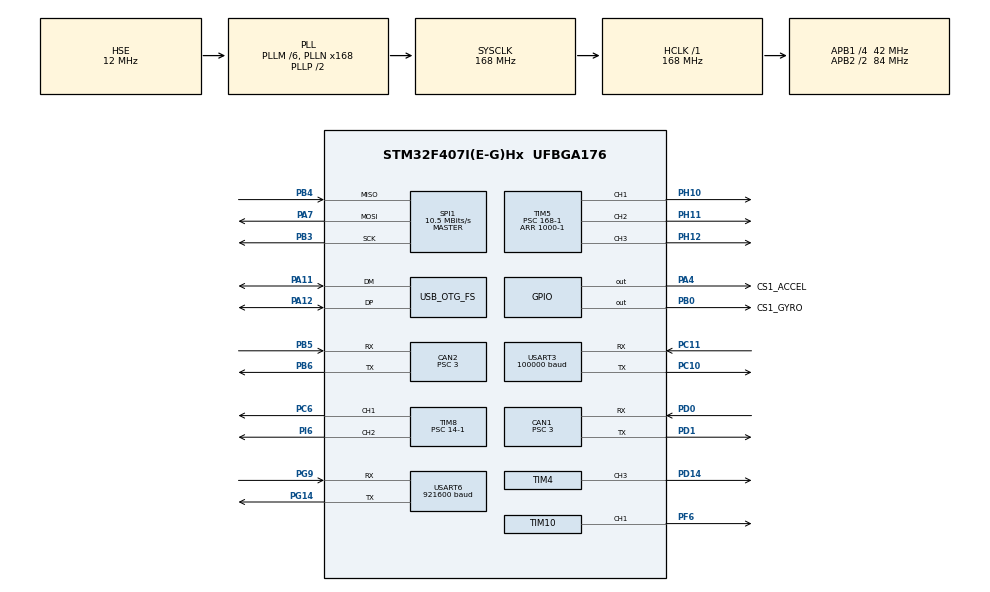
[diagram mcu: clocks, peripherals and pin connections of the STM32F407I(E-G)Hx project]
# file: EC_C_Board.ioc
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CAN1.ABOM=DISABLE
CAN1.AWUM=DISABLE
CAN1.BS1=CAN_BS1_10TQ
CAN1.BS2=CAN_BS2_3TQ
CAN1.CalculateBaudRate=1000000
CAN1.CalculateTimeBit=1000
CAN1.CalculateTimeQuantum=71.42857142857143
CAN1.NART=DISABLE
CAN1.Prescaler=3
CAN1.TXFP=DISABLE
CAN2.ABOM=DISABLE
CAN2.AWUM=DISABLE
CAN2.BS1=CAN_BS1_10TQ
CAN2.BS2=CAN_BS2_3TQ
CAN2.CalculateBaudRate=1000000
CAN2.CalculateTimeBit=1000
CAN2.CalculateTimeQuantum=71.42857142857143
CAN2.NART=DISABLE
CAN2.Prescaler=3
CAN2.TXFP=DISABLE
Dma.Request0=USART3_RX
Dma.Request1=USART6_RX
Dma.Request2=USART6_TX
Dma.Request3=TIM8_CH2
Dma.Request4=TIM8_CH1
Dma.TIM8_CH1.4.Direction=DMA_MEMORY_TO_PERIPH
Dma.TIM8_CH1.4.FIFOMode=DMA_FIFOMODE_DISABLE
Dma.TIM8_CH1.4.Instance=DMA2_Stream2
Dma.TIM8_CH1.4.MemDataAlignment=DMA_MDATAALIGN_HALFWORD
Dma.TIM8_CH1.4.MemInc=DMA_MINC_ENABLE
Dma.TIM8_CH1.4.Mode=DMA_NORMAL
Dma.TIM8_CH1.4.PeriphDataAlignment=DMA_PDATAALIGN_HALFWORD
Dma.TIM8_CH1.4.PeriphInc=DMA_PINC_DISABLE
Dma.TIM8_CH1.4.Priority=DMA_PRIORITY_MEDIUM
Dma.TIM8_CH2.3.Direction=DMA_MEMORY_TO_PERIPH
Dma.TIM8_CH2.3.FIFOMode=DMA_FIFOMODE_DISABLE
Dma.TIM8_CH2.3.Instance=DMA2_Stream3
Dma.TIM8_CH2.3.MemDataAlignment=DMA_MDATAALIGN_HALFWORD
Dma.TIM8_CH2.3.MemInc=DMA_MINC_ENABLE
Dma.TIM8_CH2.3.Mode=DMA_NORMAL
Dma.TIM8_CH2.3.PeriphDataAlignment=DMA_PDATAALIGN_HALFWORD
Dma.TIM8_CH2.3.PeriphInc=DMA_PINC_DISABLE
Dma.TIM8_CH2.3.Priority=DMA_PRIORITY_MEDIUM
Dma.USART3_RX.0.Direction=DMA_PERIPH_TO_MEMORY
Dma.USART3_RX.0.FIFOMode=DMA_FIFOMODE_DISABLE
Dma.USART3_RX.0.Instance=DMA1_Stream1
Dma.USART3_RX.0.MemDataAlignment=DMA_MDATAALIGN_BYTE
Dma.USART3_RX.0.MemInc=DMA_MINC_ENABLE
Dma.USART3_RX.0.Mode=DMA_NORMAL
Dma.USART3_RX.0.PeriphDataAlignment=DMA_PDATAALIGN_BYTE
Dma.USART3_RX.0.PeriphInc=DMA_PINC_DISABLE
Dma.USART3_RX.0.Priority=DMA_PRIORITY_HIGH
Dma.USART6_RX.1.Direction=DMA_PERIPH_TO_MEMORY
Dma.USART6_RX.1.FIFOMode=DMA_FIFOMODE_DISABLE
Dma.USART6_RX.1.Instance=DMA2_Stream1
Dma.USART6_RX.1.MemDataAlignment=DMA_MDATAALIGN_BYTE
Dma.USART6_RX.1.MemInc=DMA_MINC_ENABLE
Dma.USART6_RX.1.Mode=DMA_NORMAL
Dma.USART6_RX.1.PeriphDataAlignment=DMA_PDATAALIGN_BYTE
Dma.USART6_RX.1.PeriphInc=DMA_PINC_DISABLE
Dma.USART6_RX.1.Priority=DMA_PRIORITY_LOW
Dma.USART6_TX.2.Direction=DMA_MEMORY_TO_PERIPH
Dma.USART6_TX.2.FIFOMode=DMA_FIFOMODE_DISABLE
Dma.USART6_TX.2.Instance=DMA2_Stream6
Dma.USART6_TX.2.MemDataAlignment=DMA_MDATAALIGN_BYTE
Dma.USART6_TX.2.MemInc=DMA_MINC_ENABLE
Dma.USART6_TX.2.Mode=DMA_NORMAL
Dma.USART6_TX.2.PeriphDataAlignment=DMA_PDATAALIGN_BYTE
Dma.USART6_TX.2.PeriphInc=DMA_PINC_DISABLE
Dma.USART6_TX.2.Priority=DMA_PRIORITY_LOW
FREERTOS.INCLUDE_vTaskDelayUntil=1
FREERTOS.Tasks01=defaultTask,0,128,StartDefaultTask,Default,NULL,Dynamic,NULL,NULL;insTask,3,512,StartInsTask,Default,NULL,Dynamic,NULL,NULL;gimbalTask,2,512,StartGimbalTask,Default,NULL,Dynamic,NULL,NULL;modeTask,1,256,StartModeTask,Default,NULL,Dynamic,NULL,NULL;chassisTask,0,256,StartChassisTask,Default,NULL,Dynamic,NULL,NULL;canTask,2,256,StartCanTask,Default,NULL,Dynamic,NULL,NULL;detectTask,-1,128,StartDetectTask,Default,NULL,Dynamic,NULL,NULL
FREERTOS.configENABLE_FPU=1
FREERTOS.configUSE_NEWLIB_REENTRANT=1
Mcu.Family=STM32F4
Mcu.Name=STM32F407I(E-G)Hx
Mcu.Package=UFBGA176
NVIC.CAN1_RX0_IRQn=true\:5\:0\:false\:false\:true\:true\:true\:true\:true
NVIC.CAN2_RX0_IRQn=true\:5\:0\:false\:false\:true\:true\:true\:true\:true
NVIC.DMA1_Stream1_IRQn=true\:5\:0\:false\:false\:true\:true\:false\:true\:true
NVIC.DMA2_Stream1_IRQn=true\:5\:0\:false\:false\:true\:true\:false\:true\:true
NVIC.DMA2_Stream2_IRQn=true\:5\:0\:false\:false\:true\:true\:false\:true\:true
NVIC.DMA2_Stream3_IRQn=true\:5\:0\:false\:false\:true\:true\:false\:true\:true
NVIC.DMA2_Stream6_IRQn=true\:5\:0\:false\:false\:true\:true\:false\:true\:true
NVIC.OTG_FS_IRQn=true\:5\:0\:false\:false\:true\:true\:false\:true\:true
NVIC.PriorityGroup=NVIC_PRIORITYGROUP_4
NVIC.TIM1_BRK_TIM9_IRQn=true\:5\:0\:false\:false\:true\:true\:true\:true\:true
NVIC.TIM6_DAC_IRQn=true\:5\:0\:false\:false\:true\:true\:true\:true\:true
NVIC.TIM8_TRG_COM_TIM14_IRQn=true\:5\:0\:true\:false\:true\:false\:false\:true\:true
NVIC.TimeBase=TIM8_TRG_COM_TIM14_IRQn
NVIC.TimeBaseIP=TIM14
NVIC.USART3_IRQn=true\:5\:0\:false\:false\:true\:true\:true\:true\:true
NVIC.USART6_IRQn=true\:5\:0\:false\:false\:true\:true\:true\:true\:true
PA11.Mode=Device_Only
PA11.Signal=USB_OTG_FS_DM
PA12.Mode=Device_Only
PA12.Signal=USB_OTG_FS_DP
PA13.Mode=Serial_Wire
PA13.Signal=SYS_JTMS-SWDIO
PA14.Mode=Serial_Wire
PA14.Signal=SYS_JTCK-SWCLK
PA4.GPIO_Label=CS1_ACCEL
PA4.GPIO_PuPd=GPIO_PULLUP
PA4.GPIO_Speed=GPIO_SPEED_FREQ_HIGH
PA4.PinState=GPIO_PIN_SET
PA4.Signal=GPIO_Output
PA7.Mode=Full_Duplex_Master
PA7.Signal=SPI1_MOSI
PB0.GPIO_Label=CS1_GYRO
PB0.GPIO_PuPd=GPIO_PULLUP
PB0.GPIO_Speed=GPIO_SPEED_FREQ_HIGH
PB0.PinState=GPIO_PIN_SET
PB0.Signal=GPIO_Output
PB3.Mode=Full_Duplex_Master
PB3.Signal=SPI1_SCK
PB4.Mode=Full_Duplex_Master
PB4.Signal=SPI1_MISO
PB5.GPIO_PuPd=GPIO_PULLUP
PB5.Mode=CAN_Activate
PB5.Signal=CAN2_RX
PB6.GPIO_PuPd=GPIO_PULLUP
PB6.Mode=CAN_Activate
PB6.Signal=CAN2_TX
PC10.Mode=Asynchronous
PC10.Signal=USART3_TX
PC11.Mode=Asynchronous
PC11.Signal=USART3_RX
PC6.Signal=S_TIM8_CH1
PD0.GPIO_PuPd=GPIO_PULLUP
PD0.Mode=CAN_Activate
PD0.Signal=CAN1_RX
PD1.GPIO_PuPd=GPIO_PULLUP
PD1.Mode=CAN_Activate
PD1.Signal=CAN1_TX
PD14.Signal=S_TIM4_CH3
PF6.Signal=S_TIM10_CH1
PG14.Mode=Asynchronous
PG14.Signal=USART6_TX
PG9.Mode=Asynchronous
PG9.Signal=USART6_RX
PH0-OSC_IN.Mode=HSE-External-Oscillator
PH0-OSC_IN.Signal=RCC_OSC_IN
PH1-OSC_OUT.Mode=HSE-External-Oscillator
PH1-OSC_OUT.Signal=RCC_OSC_OUT
PH10.Signal=S_TIM5_CH1
PH11.Signal=S_TIM5_CH2
PH12.Signal=S_TIM5_CH3
PI6.Signal=S_TIM8_CH2
ProjectManager.HeapSize=0x4000
ProjectManager.StackSize=0x4000
ProjectManager.TargetToolchain=STM32CubeIDE
RCC.48MHZClocksFreq_Value=48000000
RCC.AHBFreq_Value=168000000
RCC.APB1CLKDivider=RCC_HCLK_DIV4
RCC.APB1Freq_Value=42000000
RCC.APB1TimFreq_Value=84000000
RCC.APB2CLKDivider=RCC_HCLK_DIV2
RCC.APB2Freq_Value=84000000
RCC.APB2TimFreq_Value=168000000
RCC.CortexFreq_Value=168000000
RCC.HCLKFreq_Value=168000000
RCC.HSE_VALUE=12000000
RCC.HSI_VALUE=16000000
RCC.LSE_VALUE=32768
RCC.PLLM=6
RCC.PLLN=168
RCC.PLLQ=7
RCC.SYSCLKFreq_VALUE=168000000
RCC.SYSCLKSource=RCC_SYSCLKSOURCE_PLLCLK
RCC.VCOOutputFreq_Value=336000000
SH.S_TIM10_CH1.0=TIM10_CH1,PWM Generation1 CH1
SH.S_TIM4_CH3.0=TIM4_CH3,PWM Generation3 CH3
SH.S_TIM5_CH1.0=TIM5_CH1,PWM Generation1 CH1
SH.S_TIM5_CH2.0=TIM5_CH2,PWM Generation2 CH2
SH.S_TIM5_CH3.0=TIM5_CH3,PWM Generation3 CH3
SH.S_TIM8_CH1.0=TIM8_CH1,PWM Generation1 CH1
SH.S_TIM8_CH2.0=TIM8_CH2,PWM Generation2 CH2
SPI1.BaudRatePrescaler=SPI_BAUDRATEPRESCALER_8
SPI1.CLKPhase=SPI_PHASE_2EDGE
SPI1.CLKPolarity=SPI_POLARITY_HIGH
SPI1.CalculateBaudRate=10.5 MBits/s
SPI1.Direction=SPI_DIRECTION_2LINES
SPI1.Mode=SPI_MODE_MASTER
SPI1.VirtualType=VM_MASTER
STMicroelectronics.X-CUBE-ALGOBUILD.1.5.0.LibraryCcDSPOoLibraryJjDSPOoLibrary=true
TIM10.Channel=TIM_CHANNEL_1
TIM10.Period=2000-1
TIM10.Prescaler=84-1
TIM4.AutoReloadPreload=TIM_AUTORELOAD_PRELOAD_ENABLE
TIM4.Channel-PWM\ Generation3\ CH3=TIM_CHANNEL_3
TIM5.AutoReloadPreload=TIM_AUTORELOAD_PRELOAD_ENABLE
TIM5.Channel-PWM\ Generation1\ CH1=TIM_CHANNEL_1
TIM5.Channel-PWM\ Generation2\ CH2=TIM_CHANNEL_2
TIM5.Channel-PWM\ Generation3\ CH3=TIM_CHANNEL_3
TIM5.Period=1000-1
TIM5.Prescaler=168-1
TIM6.AutoReloadPreload=TIM_AUTORELOAD_PRELOAD_ENABLE
TIM6.Period=1050-1
TIM6.Prescaler=10-1
TIM8.AutoReloadPreload=TIM_AUTORELOAD_PRELOAD_ENABLE
TIM8.Channel-PWM\ Generation1\ CH1=TIM_CHANNEL_1
TIM8.Channel-PWM\ Generation2\ CH2=TIM_CHANNEL_2
TIM8.Period=20-1
TIM8.Prescaler=14-1
TIM9.AutoReloadPreload=TIM_AUTORELOAD_PRELOAD_ENABLE
TIM9.Period=10000-1
TIM9.Prescaler=84-1
USART3.BaudRate=100000
USART3.Mode=MODE_RX
USART3.Parity=PARITY_EVEN
USART3.VirtualMode=VM_ASYNC
USART3.WordLength=WORDLENGTH_9B
USART6.BaudRate=921600
USART6.VirtualMode=VM_ASYNC
USB_DEVICE.CLASS_NAME_FS=CDC
USB_DEVICE.MANUFACTURER_STRING-CDC_FS=YueLuEmbedded
USB_DEVICE.PID_CDC_FS=202
USB_DEVICE.PRODUCT_STRING_CDC_FS=Vision Comm port
USB_DEVICE.VirtualMode-CDC_FS=Cdc
USB_DEVICE.VirtualModeFS=Cdc_FS
USB_OTG_FS.VirtualMode=Device_Only
VP_FREERTOS_VS_CMSIS_V1.Mode=CMSIS_V1
VP_STMicroelectronics.X-CUBE-ALGOBUILD_VS_DSPOoLibraryJjLibrary_1.5.0_1.5.0.Mode=DSPOoLibraryJjLibrary
VP_SYS_VS_tim14.Mode=TIM14
VP_TIM10_VS_ClockSourceINT.Mode=Enable_Timer
VP_TIM4_VS_ClockSourceINT.Mode=Internal
VP_TIM5_VS_ClockSourceINT.Mode=Internal
VP_TIM6_VS_ClockSourceINT.Mode=Enable_Timer
VP_TIM8_VS_ClockSourceINT.Mode=Internal
VP_TIM9_VS_ClockSourceINT.Mode=Internal
VP_USB_DEVICE_VS_USB_DEVICE_CDC_FS.Mode=CDC_FS
board=custom

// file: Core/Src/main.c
/* USER CODE BEGIN Header */
/**
 ******************************************************************************
 * @file           : main.c
 * @brief          : Main program body
 ******************************************************************************
 * @attention
 *
 * Copyright (c) 2023 STMicroelectronics.
 * All rights reserved.
 *
 * This software is licensed under terms that can be found in the LICENSE file
 * in the root directory of this software component.
 * If no LICENSE file comes with this software, it is provided AS-IS.
 *
 ******************************************************************************
 */
/* USER CODE END Header */
#include "main.h"
#include "cmsis_os.h"
#include "can.h"
#include "dma.h"
#include "spi.h"
#include "tim.h"
#include "usart.h"
#include "usb_device.h"
#include "gpio.h"

/* USER CODE BEGIN Includes */
#include "bmi088_driver.h"
#include "bsp_dwt.h"
#include "infantry.h"
#include "board_comm.h"
#include "remote_keyboard.h"
#include "arm_math.h"
#include "Dshot.h"
/* USER CODE END Includes */

/* USER CODE BEGIN PV */
int16_t count;
uint8_t SW_flag;
// float signal = 0;
/* USER CODE END PV */

void SystemClock_Config(void);
void MX_FREERTOS_Init(void);

int main(void)
{

  /* MCU Configuration--------------------------------------------------------*/

  /* Reset of all peripherals, Initializes the Flash interface and the Systick. */
  HAL_Init();

  /* Configure the system clock */
  SystemClock_Config();

  /* Initialize all configured peripherals */
  MX_GPIO_Init();
  MX_DMA_Init();
  MX_CAN1_Init();
  MX_CAN2_Init();
  MX_SPI1_Init();
  MX_TIM10_Init();
  MX_USART3_UART_Init();
  MX_USART6_UART_Init();
  MX_TIM9_Init();
  MX_TIM4_Init();
  MX_TIM8_Init();
  MX_TIM5_Init();
  MX_TIM6_Init();
  /* USER CODE BEGIN 2 */
  HAL_TIM_Base_Start_IT(&htim9);
  HAL_TIM_Base_Start_IT(&htim6);
  MX_USB_DEVICE_Init();
  DWT_Init(168);
  while (BMI088_init(&hspi1, 1) != BMI088_NO_ERROR)
    ;
  InfantryGimbalInit();
  /* USER CODE END 2 */

  /* Call init function for freertos objects (in cmsis_os2.c) */
  MX_FREERTOS_Init();

  /* Start scheduler */
  osKernelStart();

  /* We should never get here as control is now taken by the scheduler */

  /* Infinite loop */
  while (1) {

  }
}

void SystemClock_Config(void)
{
  RCC_OscInitTypeDef RCC_OscInitStruct = {0};
  RCC_ClkInitTypeDef RCC_ClkInitStruct = {0};

  /** Configure the main internal regulator output voltage
  */
  __HAL_RCC_PWR_CLK_ENABLE();
  __HAL_PWR_VOLTAGESCALING_CONFIG(PWR_REGULATOR_VOLTAGE_SCALE1);

  /** Initializes the RCC Oscillators according to the specified parameters
  * in the RCC_OscInitTypeDef structure.
  */
  RCC_OscInitStruct.OscillatorType = RCC_OSCILLATORTYPE_HSE;
  RCC_OscInitStruct.HSEState = RCC_HSE_ON;
  RCC_OscInitStruct.PLL.PLLState = RCC_PLL_ON;
  RCC_OscInitStruct.PLL.PLLSource = RCC_PLLSOURCE_HSE;
  RCC_OscInitStruct.PLL.PLLM = 6;
  RCC_OscInitStruct.PLL.PLLN = 168;
  RCC_OscInitStruct.PLL.PLLP = RCC_PLLP_DIV2;
  RCC_OscInitStruct.PLL.PLLQ = 7;
  if (HAL_RCC_OscConfig(&RCC_OscInitStruct) != HAL_OK)
  {
    Error_Handler();
  }

  /** Initializes the CPU, AHB and APB buses clocks
  */
  RCC_ClkInitStruct.ClockType = RCC_CLOCKTYPE_HCLK|RCC_CLOCKTYPE_SYSCLK
                              |RCC_CLOCKTYPE_PCLK1|RCC_CLOCKTYPE_PCLK2;
  RCC_ClkInitStruct.SYSCLKSource = RCC_SYSCLKSOURCE_PLLCLK;
  RCC_ClkInitStruct.AHBCLKDivider = RCC_SYSCLK_DIV1;
  RCC_ClkInitStruct.APB1CLKDivider = RCC_HCLK_DIV4;
  RCC_ClkInitStruct.APB2CLKDivider = RCC_HCLK_DIV2;

  if (HAL_RCC_ClockConfig(&RCC_ClkInitStruct, FLASH_LATENCY_5) != HAL_OK)
  {
    Error_Handler();
  }
}

void HAL_TIM_PeriodElapsedCallback(TIM_HandleTypeDef *htim)
{
  if (htim->Instance == TIM14)
  {
    HAL_IncTick();
  }
  /* USER CODE BEGIN Callback 1 */
  if (htim->Instance == TIM9) {

    //周期0.25s=0.005*50,幅值250，锯齿波
    SW_signal <= 50.f ? (SW_signal += 1.f) : (SW_signal = 0);

    if (!(count % 50)) {
      (Step_signal > 0) ? (Step_signal = -1.5) :
        (Step_signal = 1.5);
      last_Step_signal = Step_signal;
    }

    count++;

    Sin_signal = 3 * arm_cos_f32(PI * count / 72.f);
    Cos_signal = 10 * arm_sin_f32(PI * count / 48.f);
  }
  if (htim->Instance == TIM6) {
    //先失能，等正式换摩擦轮在u删除
    // dshot_mode = DSHOT_INIT;
    switch (dshot_mode) {
    case DSHOT_INIT:
      if (state_counter < 20000) {
        // if (state_counter >= 19000 && state_counter < 19900 &&
            // (state_counter - 19000) % 80 == 0) {
        motor_enable_3d();
        // } else {
        //   motorset(-48);
        // }
        state_counter++;
      }
      else {
        dshot_mode = DSHOT_SEND;
        state_counter = 0;
      }
      break;

    case DSHOT_SEND:
      if (BoardComm_GetGimbalStopFlag() == 0U) {
        if (BoardComm_GetFricFlag()) {
          motorset(1530); //连发弹速(2)
          // motorset(1538); //连发弹速(3)
          // motorset(1550); //连发弹速(4)
          // motorset(1558); //连发弹速(5)
          // motorset(1564); //连发弹速(6)
          // motorset(1568); //连发弹速(7)
          // motorset(1564); //连发弹速(8)
          // motorset(1570); //连发弹速(9)
          // motorset(1574); //连发弹速(10)
          // motorset(100);
        }
        else {
          motorset(0);
        }
      }
      else {
        motorset(-48);
      }
      break;

    default:
      break;
    }
  }
  /* USER CODE END Callback 1 */
}

void Error_Handler(void)
{
  __disable_irq();
  while (1) {
  }
}

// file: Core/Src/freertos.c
/* USER CODE BEGIN Header */
/**
 ******************************************************************************
 * File Name          : freertos.c
 * Description        : Code for freertos applications
 ******************************************************************************
 * @attention
 *
 * Copyright (c) 2023 STMicroelectronics.
 * All rights reserved.
 *
 * This software is licensed under terms that can be found in the LICENSE file
 * in the root directory of this software component.
 * If no LICENSE file comes with this software, it is provided AS-IS.
 *
 ******************************************************************************
 */
/* USER CODE END Header */

#include "FreeRTOS.h"
#include "task.h"
#include "main.h"
#include "cmsis_os.h"

/* USER CODE BEGIN Includes */
#include "infantry.h"
#include "ins.h"
#include "remote_keyboard.h"
#include "vision.h"
#include "offline_detect.h"
#include "bsp_pwm.h"
/* USER CODE END Includes */

osThreadId defaultTaskHandle;
osThreadId insTaskHandle;
osThreadId gimbalTaskHandle;
osThreadId modeTaskHandle;
osThreadId chassisTaskHandle;
osThreadId canTaskHandle;
osThreadId detectTaskHandle;

void StartDefaultTask(void const * argument);
void StartInsTask(void const * argument);
void StartGimbalTask(void const * argument);
void StartModeTask(void const * argument);
void StartChassisTask(void const * argument);
void StartCanTask(void const * argument);
void StartDetectTask(void const * argument);

extern void MX_USB_DEVICE_Init(void);
void MX_FREERTOS_Init(void); /* (MISRA C 2004 rule 8.1) */

/* GetIdleTaskMemory prototype (linked to static allocation support) */
void vApplicationGetIdleTaskMemory( StaticTask_t **ppxIdleTaskTCBBuffer, StackType_t **ppxIdleTaskStackBuffer, uint32_t *pulIdleTaskStackSize );

/* USER CODE BEGIN GET_IDLE_TASK_MEMORY */
static StaticTask_t xIdleTaskTCBBuffer;
static StackType_t xIdleStack[configMINIMAL_STACK_SIZE];

void vApplicationGetIdleTaskMemory(StaticTask_t** ppxIdleTaskTCBBuffer,
                                   StackType_t** ppxIdleTaskStackBuffer,
                                   uint32_t* pulIdleTaskStackSize) {
  *ppxIdleTaskTCBBuffer = &xIdleTaskTCBBuffer;
  *ppxIdleTaskStackBuffer = &xIdleStack[0];
  *pulIdleTaskStackSize = configMINIMAL_STACK_SIZE;
  /* place for user code */
}
/* USER CODE END GET_IDLE_TASK_MEMORY */

void MX_FREERTOS_Init(void) {

  /* Create the thread(s) */
  /* definition and creation of defaultTask */
  osThreadDef(defaultTask, StartDefaultTask, osPriorityNormal, 0, 128);
  defaultTaskHandle = osThreadCreate(osThread(defaultTask), NULL);

  /* definition and creation of insTask */
  osThreadDef(insTask, StartInsTask, osPriorityRealtime, 0, 512);
  insTaskHandle = osThreadCreate(osThread(insTask), NULL);

  /* definition and creation of gimbalTask */
  osThreadDef(gimbalTask, StartGimbalTask, osPriorityHigh, 0, 512);
  gimbalTaskHandle = osThreadCreate(osThread(gimbalTask), NULL);

  /* definition and creation of modeTask */
  osThreadDef(modeTask, StartModeTask, osPriorityAboveNormal, 0, 256);
  modeTaskHandle = osThreadCreate(osThread(modeTask), NULL);

  /* definition and creation of chassisTask */
  osThreadDef(chassisTask, StartChassisTask, osPriorityNormal, 0, 256);
  chassisTaskHandle = osThreadCreate(osThread(chassisTask), NULL);

  /* definition and creation of canTask */
  osThreadDef(canTask, StartCanTask, osPriorityHigh, 0, 256);
  canTaskHandle = osThreadCreate(osThread(canTask), NULL);

  /* definition and creation of detectTask */
  osThreadDef(detectTask, StartDetectTask, osPriorityBelowNormal, 0, 128);
  detectTaskHandle = osThreadCreate(osThread(detectTask), NULL);

}

void StartDefaultTask(void const * argument)
{
  /* init code for USB_DEVICE */
  MX_USB_DEVICE_Init();
  /* USER CODE BEGIN StartDefaultTask */
  UNUSED(argument);

  HAL_TIM_PWM_Start(&htim5, TIM_CHANNEL_1);
  HAL_TIM_PWM_Start(&htim5, TIM_CHANNEL_2);
  HAL_TIM_PWM_Start(&htim5, TIM_CHANNEL_3);

  uint8_t red = 0, green = 0, blue = 0;
  uint8_t brightness = 0, color = 0;
  int8_t direction = 1;

  /* Infinite loop */
  for (;;) {
    red = 0;      green = 0;      blue = 0;
    switch (color) {
    case 0:        red = brightness;
      break;
    case 1:        green = brightness;
      break;
    default:        blue = brightness;
      break;
    }
    TIM_Set_PWM(&htim5, TIM_CHANNEL_1, red);
    TIM_Set_PWM(&htim5, TIM_CHANNEL_2, green);
    TIM_Set_PWM(&htim5, TIM_CHANNEL_3, blue);

    if (direction > 0) {
      if (brightness < 255)           brightness++;
      else           direction = -1;
    }
    else
      if (brightness > 0)           brightness--;
      else {
        direction = 1;
        color = (color + 1) % 3;
      }
    osDelay(4);
  }//上电后正常运行的情况下颜色红绿蓝交替亮暗闪烁
  /* USER CODE END StartDefaultTask */
}

void StartInsTask(void const * argument)
{
  /* USER CODE BEGIN StartInsTask */
  INS_Init();
  /* Infinite loop */
  for (;;) {
    INS_Task();
    osDelay(2);
  }//
  /* USER CODE END StartInsTask */
}

void StartGimbalTask(void const * argument)
{
  /* USER CODE BEGIN StartGimbalTask */
  GimbalInit();
  /* Infinite loop */
  for (;;) {
    GimbalTask();
    osDelay(1);
  }
  /* USER CODE END StartGimbalTask */
}

void StartModeTask(void const * argument)
{
  /* USER CODE BEGIN StartModeTask */
  /* Infinite loop */
  for (;;) {
    ModeTask();
    osDelay(1);
  }
  /* USER CODE END StartModeTask */
}

void StartChassisTask(void const * argument)
{
  /* USER CODE BEGIN StartChassisTask */
  /* Infinite loop */
  for (;;) {
    ChassisTask();
    osDelay(20);
  }
  /* USER CODE END StartChassisTask */
}

void StartCanTask(void const * argument)
{
  /* USER CODE BEGIN StartCanTask */
  /* Infinite loop */
  for (;;) {
    CanTask();
    osDelay(1);
  }
  /* USER CODE END StartCanTask */
}

void StartDetectTask(void const * argument)
{
  /* USER CODE BEGIN StartDetectTask */
  osDelay(20000);
  Detect_Init();
  /* Infinite loop */
  for (;;) {
    Detect_task();
    osDelay(20);
  }
  /* USER CODE END StartDetectTask */
}
